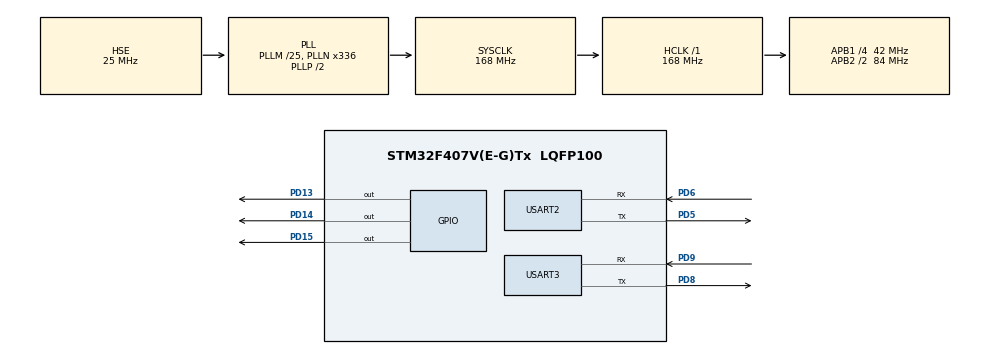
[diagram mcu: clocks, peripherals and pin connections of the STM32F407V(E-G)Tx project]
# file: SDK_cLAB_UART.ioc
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IWDG.Prescaler=IWDG_PRESCALER_64
Mcu.Family=STM32F4
Mcu.Name=STM32F407V(E-G)Tx
Mcu.Package=LQFP100
NVIC.PriorityGroup=NVIC_PRIORITYGROUP_4
NVIC.USART3_IRQn=true\:0\:0\:false\:false\:true\:true\:true
PA13.Mode=JTAG_5_pins
PA13.Signal=SYS_JTMS-SWDIO
PA14.Mode=JTAG_5_pins
PA14.Signal=SYS_JTCK-SWCLK
PA15.Mode=JTAG_5_pins
PA15.Signal=SYS_JTDI
PB3.Mode=JTAG_5_pins
PB3.Signal=SYS_JTDO-SWO
PB4.Mode=JTAG_5_pins
PB4.Signal=SYS_JTRST
PD13.GPIO_Speed=GPIO_SPEED_FREQ_HIGH
PD13.PinState=GPIO_PIN_RESET
PD13.Signal=GPIO_Output
PD14.GPIO_Speed=GPIO_SPEED_FREQ_HIGH
PD14.PinState=GPIO_PIN_RESET
PD14.Signal=GPIO_Output
PD15.GPIO_Speed=GPIO_SPEED_FREQ_HIGH
PD15.Signal=GPIO_Output
PD5.Mode=Asynchronous
PD5.Signal=USART2_TX
PD6.Mode=Asynchronous
PD6.Signal=USART2_RX
PD8.Mode=Asynchronous
PD8.Signal=USART3_TX
PD9.Mode=Asynchronous
PD9.Signal=USART3_RX
PH0-OSC_IN.Mode=HSE-External-Oscillator
PH0-OSC_IN.Signal=RCC_OSC_IN
PH1-OSC_OUT.Mode=HSE-External-Oscillator
PH1-OSC_OUT.Signal=RCC_OSC_OUT
ProjectManager.HeapSize=0x200
ProjectManager.StackSize=0x400
ProjectManager.TargetToolchain=STM32CubeIDE
RCC.48MHZClocksFreq_Value=84000000
RCC.AHBFreq_Value=168000000
RCC.APB1CLKDivider=RCC_HCLK_DIV4
RCC.APB1Freq_Value=42000000
RCC.APB1TimFreq_Value=84000000
RCC.APB2CLKDivider=RCC_HCLK_DIV2
RCC.APB2Freq_Value=84000000
RCC.APB2TimFreq_Value=168000000
RCC.CortexFreq_Value=168000000
RCC.HCLKFreq_Value=168000000
RCC.HSE_VALUE=25000000
RCC.HSI_VALUE=16000000
RCC.LSE_VALUE=32768
RCC.PLLM=25
RCC.PLLN=336
RCC.PLLSourceVirtual=RCC_PLLSOURCE_HSE
RCC.SYSCLKFreq_VALUE=168000000
RCC.SYSCLKSource=RCC_SYSCLKSOURCE_PLLCLK
RCC.VCOOutputFreq_Value=336000000
USART2.VirtualMode=VM_ASYNC
USART3.VirtualMode=VM_ASYNC
VP_IWDG_VS_IWDG.Mode=IWDG_Activate
board=custom

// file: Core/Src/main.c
/* USER CODE BEGIN Header */
/**
  ******************************************************************************
  * @file           : main.c
  * @brief          : Main program body
  ******************************************************************************
  * @attention
  *
  * <h2><center>&copy; Copyright (c) 2020 STMicroelectronics.
  * All rights reserved.</center></h2>
  *
  * This software component is licensed by ST under BSD 3-Clause license,
  * the "License"; You may not use this file except in compliance with the
  * License. You may obtain a copy of the License at:
  *                        opensource.org/licenses/BSD-3-Clause
  *
  ******************************************************************************
  */
/* USER CODE END Header */
#include "main.h"
#include "iwdg.h"
#include "usart.h"
#include "gpio.h"

/* USER CODE BEGIN Includes */
#include "trace.h"
/* USER CODE END Includes */

/* USER CODE BEGIN PV */
const char buf[17] = "";
/* USER CODE END PV */

void SystemClock_Config(void);

int main(void)
{

  /* MCU Configuration--------------------------------------------------------*/

  /* Reset of all peripherals, Initializes the Flash interface and the Systick. */
  HAL_Init();

  /* Configure the system clock */
  SystemClock_Config();

  /* Initialize all configured peripherals */
  MX_GPIO_Init();
  MX_IWDG_Init();
  MX_USART2_UART_Init();
  MX_USART3_UART_Init();
  /* USER CODE BEGIN 2 */

  /* Do not remove this code below */
  MX_TRACE_Init();
  SDK_TRACE_Start();
  /* Do not remove this code from above */

  /* Place your code from here */
  SDK_TRACE_Timestamp(PRINT, 1);
  SDK_TRACE_Print("Dual UART test");
  SDK_TRACE_Timestamp(PRINT, 0);

  HAL_UART_Receive_IT(&huart3, (uint8_t *)buf, 17);
  HAL_UART_Transmit(&huart2, (uint8_t *)"Hello from UART2!", 17, 1000);

  HAL_Delay(500);

  /* Place your code before here */
  /* Do not remove this code below */
  SDK_TRACE_Stop();
  /* Do not remove this code from above */

  /* USER CODE END 2 */

  /* Infinite loop */
  while (1)
  {

  }
}

void SystemClock_Config(void)
{
  RCC_OscInitTypeDef RCC_OscInitStruct = {0};
  RCC_ClkInitTypeDef RCC_ClkInitStruct = {0};

  /** Configure the main internal regulator output voltage
  */
  __HAL_RCC_PWR_CLK_ENABLE();
  __HAL_PWR_VOLTAGESCALING_CONFIG(PWR_REGULATOR_VOLTAGE_SCALE1);
  /** Initializes the RCC Oscillators according to the specified parameters
  * in the RCC_OscInitTypeDef structure.
  */
  RCC_OscInitStruct.OscillatorType = RCC_OSCILLATORTYPE_LSI|RCC_OSCILLATORTYPE_HSE;
  RCC_OscInitStruct.HSEState = RCC_HSE_ON;
  RCC_OscInitStruct.LSIState = RCC_LSI_ON;
  RCC_OscInitStruct.PLL.PLLState = RCC_PLL_ON;
  RCC_OscInitStruct.PLL.PLLSource = RCC_PLLSOURCE_HSE;
  RCC_OscInitStruct.PLL.PLLM = 25;
  RCC_OscInitStruct.PLL.PLLN = 336;
  RCC_OscInitStruct.PLL.PLLP = RCC_PLLP_DIV2;
  RCC_OscInitStruct.PLL.PLLQ = 4;
  if (HAL_RCC_OscConfig(&RCC_OscInitStruct) != HAL_OK)
  {
    Error_Handler();
  }
  /** Initializes the CPU, AHB and APB buses clocks
  */
  RCC_ClkInitStruct.ClockType = RCC_CLOCKTYPE_HCLK|RCC_CLOCKTYPE_SYSCLK
                              |RCC_CLOCKTYPE_PCLK1|RCC_CLOCKTYPE_PCLK2;
  RCC_ClkInitStruct.SYSCLKSource = RCC_SYSCLKSOURCE_PLLCLK;
  RCC_ClkInitStruct.AHBCLKDivider = RCC_SYSCLK_DIV1;
  RCC_ClkInitStruct.APB1CLKDivider = RCC_HCLK_DIV4;
  RCC_ClkInitStruct.APB2CLKDivider = RCC_HCLK_DIV2;

  if (HAL_RCC_ClockConfig(&RCC_ClkInitStruct, FLASH_LATENCY_5) != HAL_OK)
  {
    Error_Handler();
  }
}

/* USER CODE BEGIN 4 */
void HAL_UART_RxCpltCallback(UART_HandleTypeDef *huart)
{
	if (huart->Instance == USART3)
	{
		if (huart3.RxXferSize == 17) {
			SDK_TRACE_Print(buf);
			SDK_TRACE_Timestamp(PRINT, 1);
			SDK_TRACE_Print("Test passed");
			SDK_TRACE_Timestamp(PRINT, 0);
		} else {
			SDK_TRACE_Timestamp(PRINT, 1);
			SDK_TRACE_Print("Test failed");
			SDK_TRACE_Timestamp(PRINT, 0);
		}
	}
}
/* USER CODE END 4 */

void Error_Handler(void)
{
}

/************************ (C) COPYRIGHT STMicroelectronics *****END OF FILE****/
